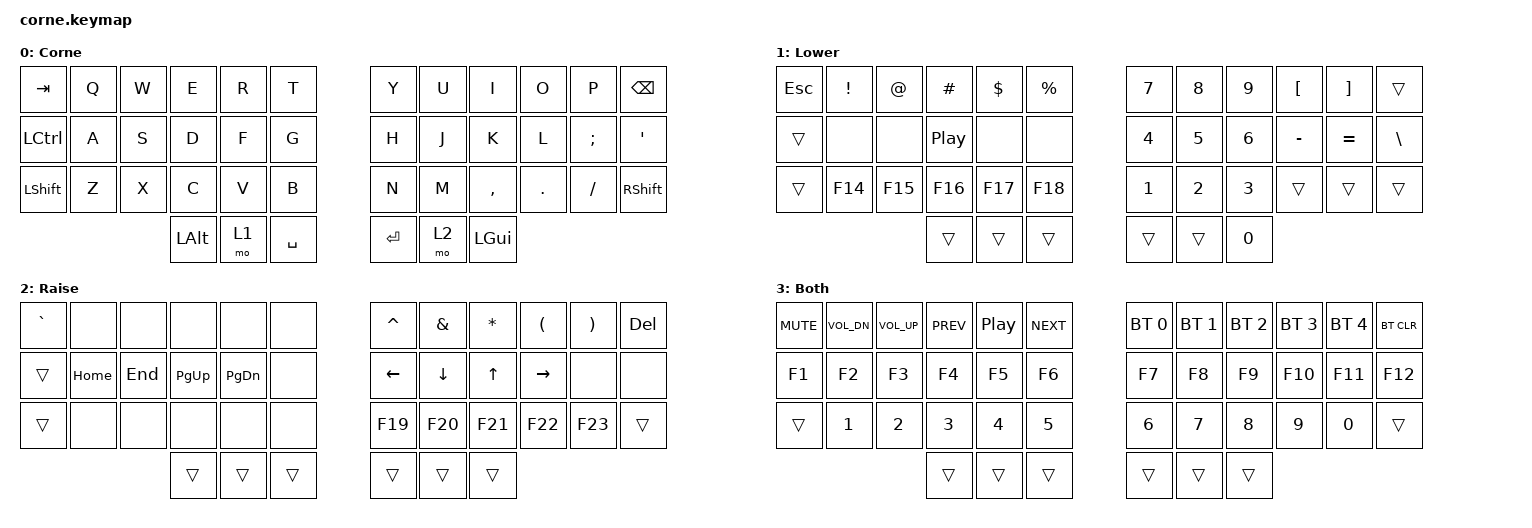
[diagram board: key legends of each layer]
#include <behaviors.dtsi>
#include <dt-bindings/zmk/bt.h>
#include <dt-bindings/zmk/keys.h>
#include <dt-bindings/zmk/outputs.h>

/ {
    combos {
        compatible = "zmk,combos";

        doubleshiftbletog {
            bindings = <&out OUT_TOG>;
            key-positions = <24 35>;
            layers = <3>;
        };

        doubleshiftcapslock {
            bindings = <&kp CAPSLOCK>;
            key-positions = <24 35>;
            layers = <0 1 2>;
            timeout-ms = <100>;
            slow-release;
        };
    };

    keymap {
        compatible = "zmk,keymap";

        Corne {
            bindings = <
&kp TAB    &kp Q  &kp W  &kp E     &kp R  &kp T        &kp Y      &kp U  &kp I      &kp O    &kp P     &kp BSPC
&kp LCTRL  &kp A  &kp S  &kp D     &kp F  &kp G        &kp H      &kp J  &kp K      &kp L    &kp SEMI  &kp APOS
&kp LSHFT  &kp Z  &kp X  &kp C     &kp V  &kp B        &kp N      &kp M  &kp COMMA  &kp DOT  &kp FSLH  &kp RSHFT
                         &kp LALT  &mo 1  &kp SPACE    &kp ENTER  &mo 2  &kp LGUI
            >;

            label = "Corne";
        };

        Lower {
            bindings = <
&kp ESC  &kp EXCL  &kp AT   &kp HASH          &kp DLLR  &kp PRCNT    &kp N7  &kp N8  &kp N9  &kp LEFT_BRACKET  &kp RIGHT_BRACKET  &trans
&trans   &none     &none    &kp C_PLAY_PAUSE  &none     &none        &kp N4  &kp N5  &kp N6  &kp MINUS         &kp EQUAL          &kp BSLH
&trans   &kp F14   &kp F15  &kp F16           &kp F17   &kp F18      &kp N1  &kp N2  &kp N3  &trans            &trans             &trans
                            &trans            &trans    &trans       &trans  &trans  &kp N0
            >;

            label = "Lower";
        };

        Raise {
            bindings = <
&kp GRAVE  &none     &none    &none        &none          &none     &kp CARET       &kp AMPS        &kp STAR      &kp LPAR         &kp RPAR  &kp DELETE
&trans     &kp HOME  &kp END  &kp PAGE_UP  &kp PAGE_DOWN  &none     &kp LEFT_ARROW  &kp DOWN_ARROW  &kp UP_ARROW  &kp RIGHT_ARROW  &none     &none
&trans     &none     &none    &none        &none          &none     &kp F19         &kp F20         &kp F21       &kp F22          &kp F23   &trans
                              &trans       &trans         &trans    &trans          &trans          &trans
            >;

            label = "Raise";
        };

        Both {
            bindings = <
&kp C_MUTE  &kp C_VOL_DN  &kp C_VOLUME_UP  &kp C_PREV    &kp C_PLAY_PAUSE  &kp C_NEXT      &bt BT_SEL 0  &bt BT_SEL 1  &bt BT_SEL 2  &bt BT_SEL 3  &bt BT_SEL 4  &bt BT_CLR
&kp F1      &kp F2        &kp F3           &kp F4        &kp F5            &kp F6          &kp F7        &kp F8        &kp F9        &kp F10       &kp F11       &kp F12
&trans      &kp NUMBER_1  &kp NUMBER_2     &kp NUMBER_3  &kp NUMBER_4      &kp NUMBER_5    &kp NUMBER_6  &kp NUMBER_7  &kp NUMBER_8  &kp NUMBER_9  &kp NUMBER_0  &trans
                                           &trans        &trans            &trans          &trans        &trans        &trans
            >;

            label = "Both";
        };
    };

    conditional_layers {
        compatible = "zmk,conditional-layers";

        activateboth {
            if-layers = <1 2>;
            then-layer = <3>;
        };
    };
};
